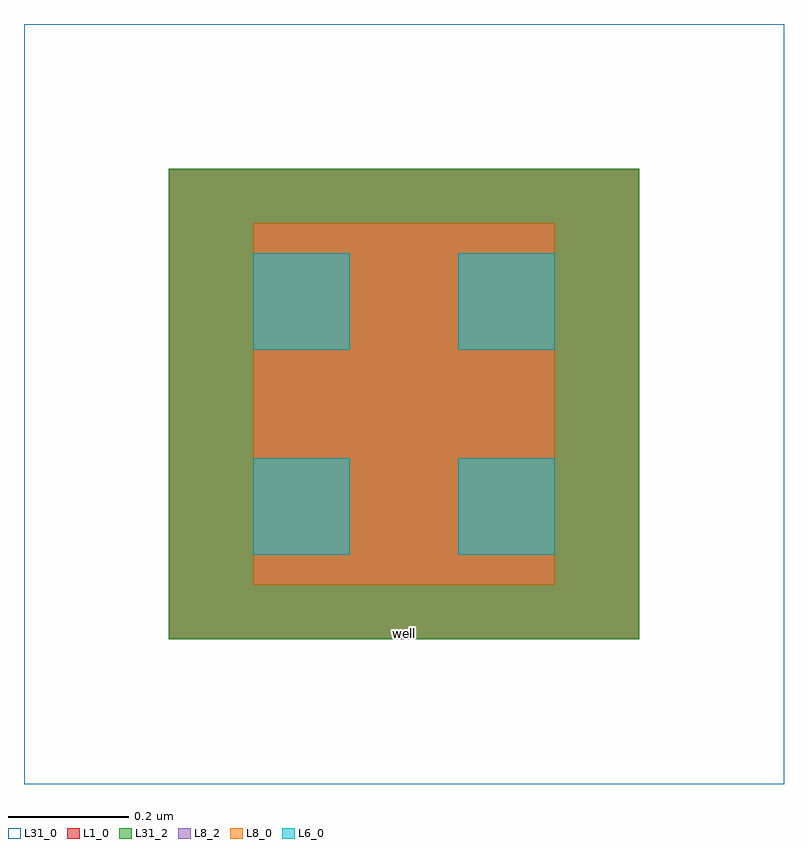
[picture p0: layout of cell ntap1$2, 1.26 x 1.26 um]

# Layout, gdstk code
import gdstk
lib = gdstk.Library(unit=1e-6, precision=1e-09)
def R(c, l, rs):  # rectangles x0, y0, x1, y1
    for r in rs: c.add(gdstk.rectangle(r[:2], r[2:], *l))
L1_0 = (1, 0)
L6_0 = (6, 0)
L8_0 = (8, 0)
L8_2 = (8, 2)
L31_0 = (31, 0)
L31_2 = (31, 2)

ntap1_2 = lib.new_cell('ntap1$2')
R(ntap1_2, L1_0, [(0,0,0.78,0.78)])
R(ntap1_2, L6_0, [(0.14,0.14,0.3,0.3), (0.48,0.14,0.64,0.3), (0.14,0.48,0.3,0.64), (0.48,0.48,0.64,0.64)])
R(ntap1_2, L8_0, [(0.14,0.09,0.64,0.69)])
R(ntap1_2, L8_2, [(0.14,0.09,0.64,0.69), (0.14,0.14,0.64,0.64)])
R(ntap1_2, L31_0, [(-0.24,-0.24,1.02,1.02), (0,0,0.78,0.78)])
R(ntap1_2, L31_2, [(0,0,0.78,0.78)])
ntap1_2.add(gdstk.Label('well', (0.39,0.01), layer=31, texttype=0))
ntap1_2.add(gdstk.Label('well', (0.39,0.01), layer=63, texttype=0))

lib.write_gds('ntap1_2.gds')
